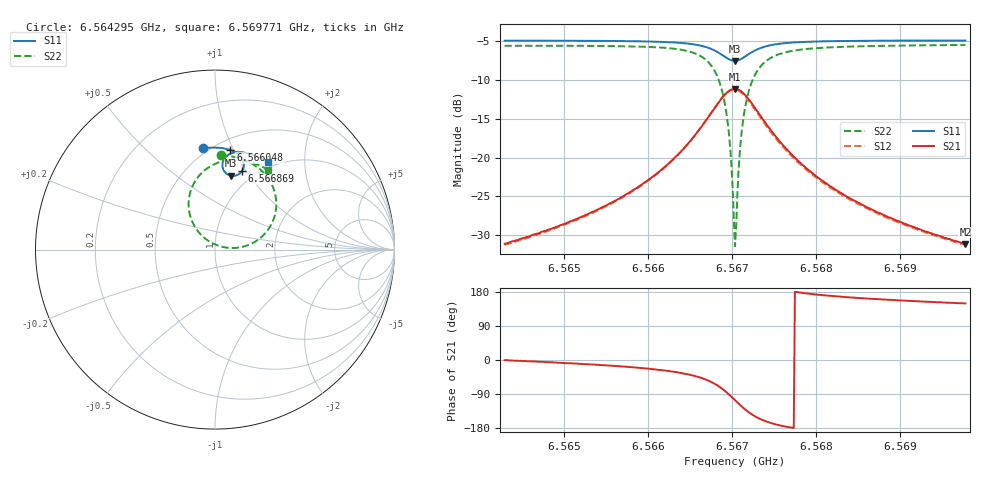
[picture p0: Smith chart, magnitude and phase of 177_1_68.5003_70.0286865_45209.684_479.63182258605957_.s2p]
#  HZ  S  RI  R  50.00
! Rohde & Schwarz Vector Network Analyzer
! Rohde-Schwarz,ZNB20-2Port,1311601062101988,3.16
! Created: UTC 3/20/2024, 4:56:32 PM
! freq[Hz]  re:S11  im:S11  re:S21  im:S21  re:S12  im:S12  re:S22  im:S22
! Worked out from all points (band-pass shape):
!   401 points, 6.564295 GHz to 6.569771 GHz, reference 50 ohm
!   highest |S21| = -11.12 dB at 6.567033 GHz (marker M1); lowest = -31.1 dB at 6.569771 GHz (marker M2)
!   |S21| within 3 dB of the highest: 6.566757 GHz to 6.567306 GHz (548.7 kHz wide, 0.00836 % of centre)
!   lowest |S11| = -7.5 dB at 6.567033 GHz (marker M3), VSWR 2.46, Z = 41 + j41.1 ohm
!   |S11| at or under -10 dB: nowhere
!   |S22| runs from -31.4 to -5.5 dB; largest |S21 - S12| = 0.013
!   S11 on the Smith chart (normalised r, x): 6.564295 GHz: 0.46, +0.78; 6.566048 GHz: 0.60, +0.97; 6.566869 GHz: 0.86, +0.96; 6.569771 GHz: 0.91, +1.33
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6.5642951e9  -0.0669 0.5652  0.0278 -0.000291  0.0274 -0.000638  0.0334 0.5261
6.5652124e9  0.00793 0.568  0.0409 -0.00741  0.0402 -0.00795  0.1202 0.5132
6.5660475e9  0.0854 0.5551  0.0685 -0.0303  0.0674 -0.0309  0.2277 0.4653
6.5661297e9  0.0942 0.5521  0.073 -0.0352  0.072 -0.0361  0.2415 0.4551
6.5664309e9  0.1287 0.5328  0.094 -0.0676  0.0925 -0.0689  0.3005 0.3912
6.5666499e9  0.1539 0.5018  0.1077 -0.1219  0.1051 -0.1244  0.3396 0.286
6.5667731e9  0.1606 0.4707  0.0997 -0.1763  0.0953 -0.1796  0.3308 0.1819
6.566869e9  0.1513 0.4394  0.0665 -0.2299  0.0589 -0.233  0.2712 0.0818
6.5669511e9  0.1255 0.4164  0.00559 -0.2668  -0.00529 -0.2667  0.1595 0.017
6.5669785e9  0.1135 0.4123  -0.0208 -0.2722  -0.0325 -0.2704  0.1115 0.0092
6.5670196e9  0.0937 0.4112  -0.0629 -0.2705  -0.0747 -0.2656  0.0366 0.0163
6.5670332e9  0.0871 0.4124  -0.0769 -0.2671  -0.0884 -0.2611  0.0124 0.0238
6.5670469e9  0.0806 0.4144  -0.0904 -0.2625  -0.1014 -0.2554  -0.0109 0.0339
6.5670606e9  0.0745 0.4169  -0.1035 -0.2564  -0.1138 -0.2485  -0.0328 0.0461
6.567088e9  0.0633 0.4239  -0.1267 -0.2412  -0.1357 -0.2315  -0.0715 0.0762
6.5671291e9  0.0507 0.4382  -0.1539 -0.212  -0.1601 -0.2011  -0.1143 0.1308
6.5671838e9  0.0422 0.4595  -0.1745 -0.1694  -0.1773 -0.1583  -0.1429 0.2078
6.5672523e9  0.0426 0.4845  -0.18 -0.1207  -0.1795 -0.1112  -0.1436 0.2932
6.5674987e9  0.08 0.5316  -0.1383 -0.0273  -0.1353 -0.0232  -0.0477 0.4497
6.5679505e9  0.1427 0.5428  -0.0792 0.00845  -0.0773 0.00956  0.0873 0.4994
6.5688678e9  0.2276 0.522  -0.0384 0.0148  -0.0375 0.0151  0.2171 0.4812
6.5697714e9  0.294 0.4895  -0.0239 0.0141  -0.0232 0.0144  0.2959 0.4444
